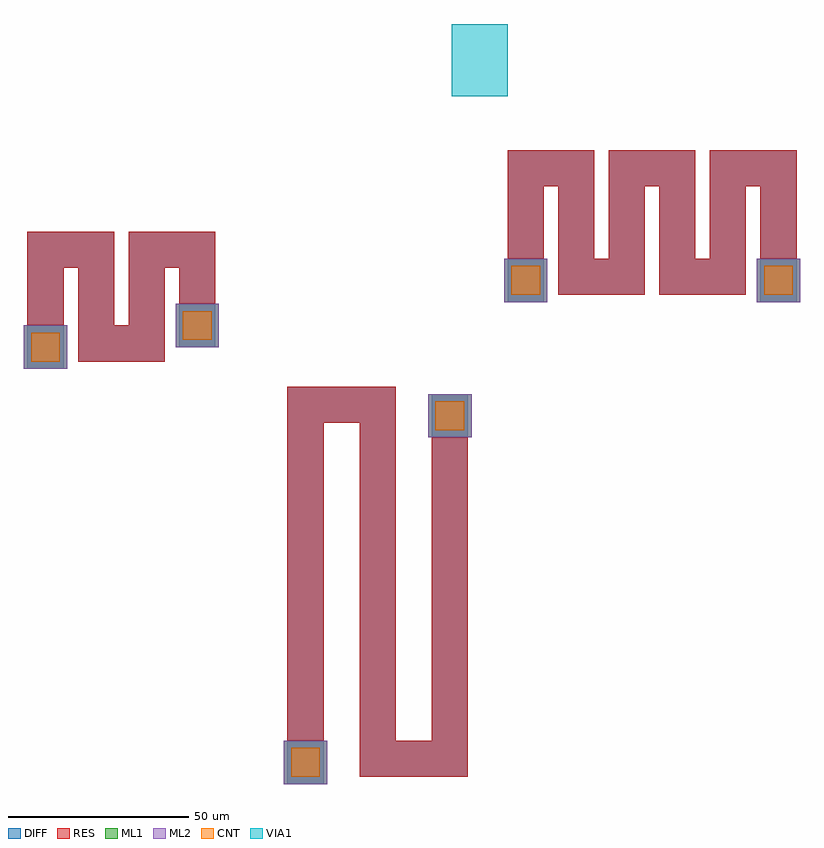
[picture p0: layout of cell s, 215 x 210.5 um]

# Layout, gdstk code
import gdstk
lib = gdstk.Library(unit=1e-6, precision=1e-09)
def R(c, l, rs):  # rectangles x0, y0, x1, y1
    for r in rs: c.add(gdstk.rectangle(r[:2], r[2:], *l))
DIFF = (3, 0)
CNT = (7, 0)
ML1 = (8, 0)
VIA1 = (9, 0)
ML2 = (10, 0)
RES = (15, 0)

r_diff_1 = lib.new_cell('R_diff$1')
R(r_diff_1, CNT, [(2,2,10,10), (72,2,80,10)])
R(r_diff_1, ML1, [(0,0,12,12), (70,0,82,12)])
R(r_diff_1, ML2, [(0,0,12,12), (70,0,82,12)])
r_diff_1.add(gdstk.FlexPath([(6,0),(6,32)], 10, ends="flush", simple_path=True, layer=3, datatype=0))  # DIFF
r_diff_1.add(gdstk.FlexPath([(20,12),(20,32)], 10, ends="flush", simple_path=True, layer=3, datatype=0))  # DIFF
r_diff_1.add(gdstk.FlexPath([(20,37),(6,37)], 10, ends="extended", simple_path=True, layer=3, datatype=0))  # DIFF
r_diff_1.add(gdstk.FlexPath([(34,12),(34,32)], 10, ends="flush", simple_path=True, layer=3, datatype=0))  # DIFF
r_diff_1.add(gdstk.FlexPath([(34,7),(20,7)], 10, ends="extended", simple_path=True, layer=3, datatype=0))  # DIFF
r_diff_1.add(gdstk.FlexPath([(48,12),(48,32)], 10, ends="flush", simple_path=True, layer=3, datatype=0))  # DIFF
r_diff_1.add(gdstk.FlexPath([(48,37),(34,37)], 10, ends="extended", simple_path=True, layer=3, datatype=0))  # DIFF
r_diff_1.add(gdstk.FlexPath([(62,12),(62,32)], 10, ends="flush", simple_path=True, layer=3, datatype=0))  # DIFF
r_diff_1.add(gdstk.FlexPath([(62,7),(48,7)], 10, ends="extended", simple_path=True, layer=3, datatype=0))  # DIFF
r_diff_1.add(gdstk.FlexPath([(76,0),(76,32)], 10, ends="flush", simple_path=True, layer=3, datatype=0))  # DIFF
r_diff_1.add(gdstk.FlexPath([(76,37),(62,37)], 10, ends="extended", simple_path=True, layer=3, datatype=0))  # DIFF
r_diff_1.add(gdstk.FlexPath([(6,12),(6,32)], 10, ends="flush", simple_path=True, layer=15, datatype=0))  # RES
r_diff_1.add(gdstk.FlexPath([(20,12),(20,32)], 10, ends="flush", simple_path=True, layer=15, datatype=0))  # RES
r_diff_1.add(gdstk.FlexPath([(20,37),(6,37)], 10, ends="extended", simple_path=True, layer=15, datatype=0))  # RES
r_diff_1.add(gdstk.FlexPath([(34,12),(34,32)], 10, ends="flush", simple_path=True, layer=15, datatype=0))  # RES
r_diff_1.add(gdstk.FlexPath([(34,7),(20,7)], 10, ends="extended", simple_path=True, layer=15, datatype=0))  # RES
r_diff_1.add(gdstk.FlexPath([(48,12),(48,32)], 10, ends="flush", simple_path=True, layer=15, datatype=0))  # RES
r_diff_1.add(gdstk.FlexPath([(48,37),(34,37)], 10, ends="extended", simple_path=True, layer=15, datatype=0))  # RES
r_diff_1.add(gdstk.FlexPath([(62,12),(62,32)], 10, ends="flush", simple_path=True, layer=15, datatype=0))  # RES
r_diff_1.add(gdstk.FlexPath([(62,7),(48,7)], 10, ends="extended", simple_path=True, layer=15, datatype=0))  # RES
r_diff_1.add(gdstk.FlexPath([(76,12),(76,32)], 10, ends="flush", simple_path=True, layer=15, datatype=0))  # RES
r_diff_1.add(gdstk.FlexPath([(76,37),(62,37)], 10, ends="extended", simple_path=True, layer=15, datatype=0))  # RES

r_diff_2 = lib.new_cell('R_diff$2')
R(r_diff_2, CNT, [(2,2,10,10), (42,98,50,106)])
R(r_diff_2, ML1, [(0,0,12,12), (40,96,52,108)])
R(r_diff_2, ML2, [(0,0,12,12), (40,96,52,108)])
r_diff_2.add(gdstk.FlexPath([(6,0),(6,100)], 10, ends="flush", simple_path=True, layer=3, datatype=0))  # DIFF
r_diff_2.add(gdstk.FlexPath([(26,12),(26,100)], 10, ends="flush", simple_path=True, layer=3, datatype=0))  # DIFF
r_diff_2.add(gdstk.FlexPath([(26,105),(6,105)], 10, ends="extended", simple_path=True, layer=3, datatype=0))  # DIFF
r_diff_2.add(gdstk.FlexPath([(46,12),(46,108)], 10, ends="flush", simple_path=True, layer=3, datatype=0))  # DIFF
r_diff_2.add(gdstk.FlexPath([(46,7),(26,7)], 10, ends="extended", simple_path=True, layer=3, datatype=0))  # DIFF
r_diff_2.add(gdstk.FlexPath([(6,12),(6,100)], 10, ends="flush", simple_path=True, layer=15, datatype=0))  # RES
r_diff_2.add(gdstk.FlexPath([(26,12),(26,100)], 10, ends="flush", simple_path=True, layer=15, datatype=0))  # RES
r_diff_2.add(gdstk.FlexPath([(26,105),(6,105)], 10, ends="extended", simple_path=True, layer=15, datatype=0))  # RES
r_diff_2.add(gdstk.FlexPath([(46,12),(46,96)], 10, ends="flush", simple_path=True, layer=15, datatype=0))  # RES
r_diff_2.add(gdstk.FlexPath([(46,7),(26,7)], 10, ends="extended", simple_path=True, layer=15, datatype=0))  # RES

r_diff = lib.new_cell('R_diff')
R(r_diff, CNT, [(2,2,10,10), (44,8,52,16)])
R(r_diff, ML1, [(0,0,12,12), (42,6,54,18)])
R(r_diff, ML2, [(0,0,12,12), (42,6,54,18)])
r_diff.add(gdstk.FlexPath([(6,0),(6,28)], 10, ends="flush", simple_path=True, layer=3, datatype=0))  # DIFF
r_diff.add(gdstk.FlexPath([(20,12),(20,28)], 10, ends="flush", simple_path=True, layer=3, datatype=0))  # DIFF
r_diff.add(gdstk.FlexPath([(20,33),(6,33)], 10, ends="extended", simple_path=True, layer=3, datatype=0))  # DIFF
r_diff.add(gdstk.FlexPath([(34,12),(34,28)], 10, ends="flush", simple_path=True, layer=3, datatype=0))  # DIFF
r_diff.add(gdstk.FlexPath([(34,7),(20,7)], 10, ends="extended", simple_path=True, layer=3, datatype=0))  # DIFF
r_diff.add(gdstk.FlexPath([(48,6),(48,28)], 10, ends="flush", simple_path=True, layer=3, datatype=0))  # DIFF
r_diff.add(gdstk.FlexPath([(48,33),(34,33)], 10, ends="extended", simple_path=True, layer=3, datatype=0))  # DIFF
r_diff.add(gdstk.FlexPath([(6,12),(6,28)], 10, ends="flush", simple_path=True, layer=15, datatype=0))  # RES
r_diff.add(gdstk.FlexPath([(20,12),(20,28)], 10, ends="flush", simple_path=True, layer=15, datatype=0))  # RES
r_diff.add(gdstk.FlexPath([(20,33),(6,33)], 10, ends="extended", simple_path=True, layer=15, datatype=0))  # RES
r_diff.add(gdstk.FlexPath([(34,12),(34,28)], 10, ends="flush", simple_path=True, layer=15, datatype=0))  # RES
r_diff.add(gdstk.FlexPath([(34,7),(20,7)], 10, ends="extended", simple_path=True, layer=15, datatype=0))  # RES
r_diff.add(gdstk.FlexPath([(48,18),(48,28)], 10, ends="flush", simple_path=True, layer=15, datatype=0))  # RES
r_diff.add(gdstk.FlexPath([(48,33),(34,33)], 10, ends="extended", simple_path=True, layer=15, datatype=0))  # RES

c_s = lib.new_cell('s')
R(c_s, VIA1, [(-64.5,70,-49,90)])
c_s.add(gdstk.Reference(r_diff_1, (-50,13)))
c_s.add(gdstk.Reference(r_diff_2, (-111,-120.5)))
c_s.add(gdstk.Reference(r_diff, (-183,-5.5)))

lib.write_gds('s.gds')
